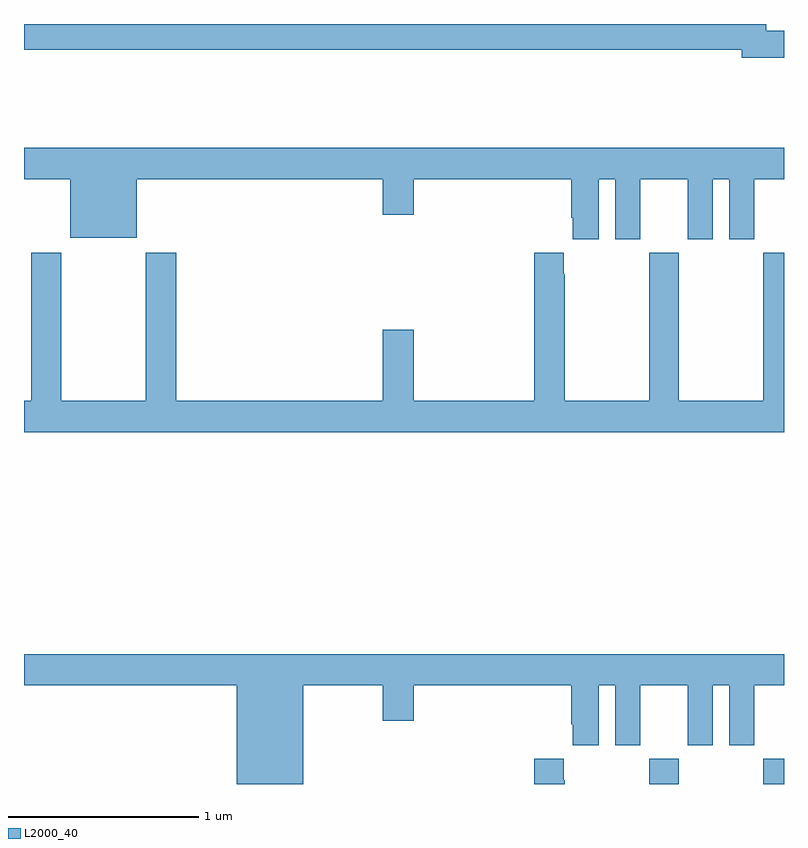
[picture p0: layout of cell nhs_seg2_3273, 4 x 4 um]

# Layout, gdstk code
import gdstk
lib = gdstk.Library(unit=1e-6, precision=1e-09)
def R(c, l, rs):  # rectangles x0, y0, x1, y1
    for r in rs: c.add(gdstk.rectangle(r[:2], r[2:], *l))
def P(c, l, *ps):  # polygons
    for p in ps: c.add(gdstk.Polygon(p, *l))
L2000_40 = (2000, 40)

nhs_seg2_3273 = lib.new_cell('nhs_seg2_3273')
R(nhs_seg2_3273, L2000_40, [(286.291,629.8,286.446,629.932), (286.891,629.8,287,629.932)])
P(nhs_seg2_3273, L2000_40, [(287,633.764),(286.906,633.764),(286.906,633.8),(283,633.8),(283,633.664),(286.778,633.664),(286.778,633.622),(287,633.622)],
  [(286.024,632.984),(286.112,632.984),(286.112,632.667),(286.243,632.667),(286.243,632.984),(286.493,632.984),(286.493,632.667),(286.624,632.667),(286.624,632.984),(286.712,632.984),(286.712,632.667),(286.843,632.667),(286.843,632.984),(287,632.984),(287,633.148),(283,633.148),(283,632.984),(283.244,632.984),(283.244,632.675),(283.594,632.675),(283.594,632.984),(284.888,632.984),(284.888,632.796),(285.052,632.796),(285.052,632.984),(285.881,632.984),(285.881,632.779),(285.887,632.779),(285.887,632.667),(286.024,632.667)],
  [(287,632.596),(286.891,632.596),(286.891,631.816),(286.446,631.816),(286.446,632.596),(286.291,632.596),(286.291,631.816),(285.846,631.816),(285.846,632.483),(285.841,632.483),(285.841,632.596),(285.686,632.596),(285.686,631.816),(285.052,631.816),(285.052,632.191),(284.888,632.191),(284.888,631.816),(283.802,631.816),(283.802,632.596),(283.642,632.596),(283.642,631.816),(283.197,631.816),(283.197,632.596),(283.037,632.596),(283.037,631.816),(283,631.816),(283,631.652),(287,631.652)],
  [(284.47,630.32),(284.888,630.32),(284.888,630.132),(285.052,630.132),(285.052,630.32),(285.881,630.32),(285.881,630.115),(285.887,630.115),(285.887,630.003),(286.024,630.003),(286.024,630.32),(286.112,630.32),(286.112,630.003),(286.243,630.003),(286.243,630.32),(286.493,630.32),(286.493,630.003),(286.624,630.003),(286.624,630.32),(286.712,630.32),(286.712,630.003),(286.843,630.003),(286.843,630.32),(287,630.32),(287,630.484),(283,630.484),(283,630.32),(284.12,630.32),(284.12,629.8),(284.47,629.8)],
  [(285.846,629.819),(285.841,629.819),(285.841,629.932),(285.686,629.932),(285.686,629.8),(285.846,629.8)])

lib.write_gds('nhs_seg2_3273.gds')
